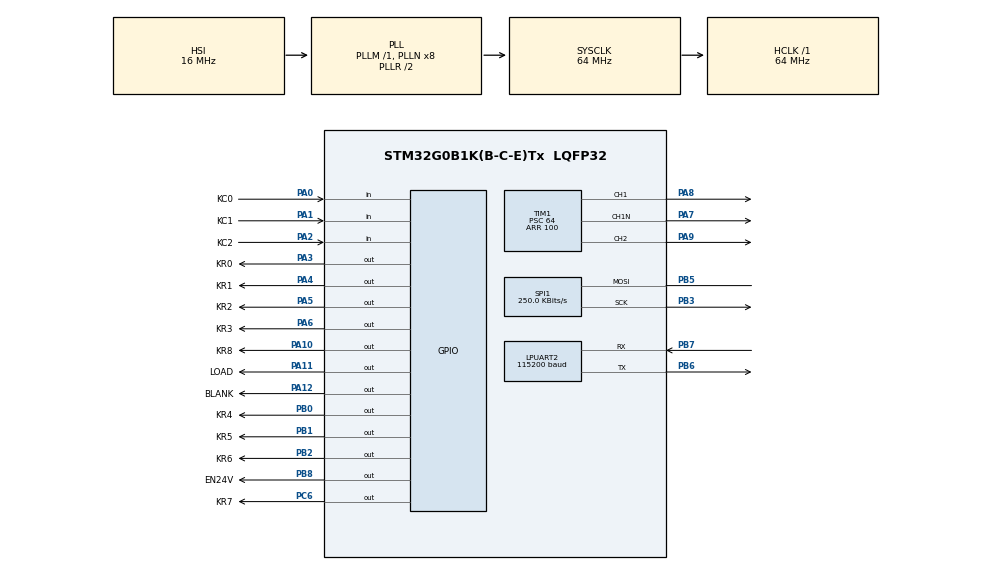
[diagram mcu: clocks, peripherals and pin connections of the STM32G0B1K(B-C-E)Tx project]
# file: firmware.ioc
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LPUART2.BaudRate=115200
LPUART2.WordLength=UART_WORDLENGTH_8B
Mcu.Family=STM32G0
Mcu.Name=STM32G0B1K(B-C-E)Tx
Mcu.Package=LQFP32
PA0.GPIO_Label=KC0
PA0.GPIO_PuPd=GPIO_PULLUP
PA0.Signal=GPIO_Input
PA1.GPIO_Label=KC1
PA1.GPIO_PuPd=GPIO_PULLUP
PA1.Signal=GPIO_Input
PA10.GPIO_Label=KR8
PA10.GPIO_ModeDefaultOutputPP=GPIO_MODE_OUTPUT_OD
PA10.GPIO_PuPd=GPIO_NOPULL
PA10.GPIO_Speed=GPIO_SPEED_FREQ_HIGH
PA10.PinState=GPIO_PIN_SET
PA10.Signal=GPIO_Output
PA11\ [PA9].GPIO_Label=LOAD
PA11\ [PA9].Signal=GPIO_Output
PA12\ [PA10].GPIO_Label=BLANK
PA12\ [PA10].Signal=GPIO_Output
PA13.Mode=Serial_Wire
PA13.Signal=SYS_SWDIO
PA14-BOOT0.Mode=Serial_Wire
PA14-BOOT0.Signal=SYS_SWCLK
PA2.GPIO_Label=KC2
PA2.GPIO_PuPd=GPIO_PULLUP
PA2.Signal=GPIO_Input
PA3.GPIO_Label=KR0
PA3.GPIO_ModeDefaultOutputPP=GPIO_MODE_OUTPUT_OD
PA3.GPIO_PuPd=GPIO_NOPULL
PA3.GPIO_Speed=GPIO_SPEED_FREQ_HIGH
PA3.PinState=GPIO_PIN_SET
PA3.Signal=GPIO_Output
PA4.GPIO_Label=KR1
PA4.GPIO_ModeDefaultOutputPP=GPIO_MODE_OUTPUT_OD
PA4.GPIO_PuPd=GPIO_NOPULL
PA4.GPIO_Speed=GPIO_SPEED_FREQ_HIGH
PA4.PinState=GPIO_PIN_SET
PA4.Signal=GPIO_Output
PA5.GPIO_Label=KR2
PA5.GPIO_ModeDefaultOutputPP=GPIO_MODE_OUTPUT_OD
PA5.GPIO_PuPd=GPIO_NOPULL
PA5.GPIO_Speed=GPIO_SPEED_FREQ_HIGH
PA5.PinState=GPIO_PIN_SET
PA5.Signal=GPIO_Output
PA6.GPIO_Label=KR3
PA6.GPIO_ModeDefaultOutputPP=GPIO_MODE_OUTPUT_OD
PA6.GPIO_PuPd=GPIO_NOPULL
PA6.GPIO_Speed=GPIO_SPEED_FREQ_HIGH
PA6.PinState=GPIO_PIN_SET
PA6.Signal=GPIO_Output
PA7.Mode=PWM Generation1 CH1 CH1N
PA7.Signal=TIM1_CH1N
PA8.Signal=S_TIM1_CH1
PA9.Signal=S_TIM1_CH2
PB0.GPIO_Label=KR4
PB0.GPIO_ModeDefaultOutputPP=GPIO_MODE_OUTPUT_OD
PB0.GPIO_PuPd=GPIO_NOPULL
PB0.GPIO_Speed=GPIO_SPEED_FREQ_HIGH
PB0.PinState=GPIO_PIN_SET
PB0.Signal=GPIO_Output
PB1.GPIO_Label=KR5
PB1.GPIO_ModeDefaultOutputPP=GPIO_MODE_OUTPUT_OD
PB1.GPIO_PuPd=GPIO_NOPULL
PB1.GPIO_Speed=GPIO_SPEED_FREQ_HIGH
PB1.PinState=GPIO_PIN_SET
PB1.Signal=GPIO_Output
PB2.GPIO_Label=KR6
PB2.GPIO_ModeDefaultOutputPP=GPIO_MODE_OUTPUT_OD
PB2.GPIO_PuPd=GPIO_NOPULL
PB2.GPIO_Speed=GPIO_SPEED_FREQ_HIGH
PB2.PinState=GPIO_PIN_SET
PB2.Signal=GPIO_Output
PB3.Mode=Simplex_Bidirectional_Master
PB3.Signal=SPI1_SCK
PB5.Mode=Simplex_Bidirectional_Master
PB5.Signal=SPI1_MOSI
PB6.Mode=Asynchronous
PB6.Signal=LPUART2_TX
PB7.Mode=Asynchronous
PB7.Signal=LPUART2_RX
PB8.GPIO_Label=EN24V
PB8.Signal=GPIO_Output
PC6.GPIO_Label=KR7
PC6.GPIO_ModeDefaultOutputPP=GPIO_MODE_OUTPUT_OD
PC6.GPIO_PuPd=GPIO_NOPULL
PC6.GPIO_Speed=GPIO_SPEED_FREQ_HIGH
PC6.PinState=GPIO_PIN_SET
PC6.Signal=GPIO_Output
ProjectManager.HeapSize=0x200
ProjectManager.StackSize=0x400
ProjectManager.TargetToolchain=STM32CubeIDE
RCC.ADCFreq_Value=64000000
RCC.AHBFreq_Value=64000000
RCC.APB1CLKDivider=RCC_HCLK_DIV2
RCC.CodegenConfigPeriph=true
RCC.CortexFreq_Value=64000000
RCC.EXTERNAL_CLOCK_VALUE=48000
RCC.HCLKFreq_Value=64000000
RCC.HSE_VALUE=8000000
RCC.HSI48_VALUE=48000000
RCC.HSI_VALUE=16000000
RCC.LSE_VALUE=32768
RCC.PREFETCH_ENABLE=1
RCC.SYSCLKFreq_VALUE=64000000
RCC.SYSCLKSource=RCC_SYSCLKSOURCE_PLLCLK
RCC.USBFreq_Value=48000000
RCC.VCOOutputFreq_Value=128000000
SH.S_TIM1_CH1.0=TIM1_CH1,PWM Generation1 CH1 CH1N
SH.S_TIM1_CH2.0=TIM1_CH2,PWM Generation2 CH2
SPI1.BaudRatePrescaler=SPI_BAUDRATEPRESCALER_128
SPI1.CalculateBaudRate=250.0 KBits/s
SPI1.Direction=SPI_DIRECTION_1LINE
SPI1.FirstBit=SPI_FIRSTBIT_LSB
SPI1.Mode=SPI_MODE_MASTER
SPI1.VirtualType=VM_MASTER
TIM1.AutoReloadPreload=TIM_AUTORELOAD_PRELOAD_ENABLE
TIM1.Channel-PWM\ Generation1\ CH1\ CH1N=TIM_CHANNEL_1
TIM1.Channel-PWM\ Generation2\ CH2=TIM_CHANNEL_2
TIM1.Period=100
TIM1.Prescaler=64
TIM1.Pulse-PWM\ Generation1\ CH1\ CH1N=50
TIM1.Pulse-PWM\ Generation2\ CH2=50
VP_SYS_VS_DBSignals.Mode=DisableDeadBatterySignals
board=custom

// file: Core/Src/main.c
/* USER CODE BEGIN Header */
/**
  ******************************************************************************
  * @file           : main.c
  * @brief          : Main program body
  ******************************************************************************
  * @attention
  *
  * <h2><center>&copy; Copyright (c) 2022 STMicroelectronics.
  * All rights reserved.</center></h2>
  *
  * This software component is licensed by ST under BSD 3-Clause license,
  * the "License"; You may not use this file except in compliance with the
  * License. You may obtain a copy of the License at:
  *                        opensource.org/licenses/BSD-3-Clause
  *
  ******************************************************************************
  */
/* USER CODE END Header */
#include "main.h"

/* USER CODE BEGIN Includes */
#include <stdio.h>
/* USER CODE END Includes */

/* USER CODE BEGIN PD */

// Make this macro true if you want to protect the SWD pin from static discharge.
// Make this macro false if you need to debug the program.
#define PROTECT_SWD true

/* USER CODE END PD */

UART_HandleTypeDef hlpuart2;

SPI_HandleTypeDef hspi1;

TIM_HandleTypeDef htim1;

void SystemClock_Config(void);
static void MX_GPIO_Init(void);
static void MX_SPI1_Init(void);
static void MX_LPUART2_UART_Init(void);
static void MX_TIM1_Init(void);
/* USER CODE BEGIN PFP */
extern void exec_calc();		// calculator execution body function.
/* USER CODE END PFP */

/* USER CODE BEGIN 0 */
// STDOUT hook. Enable printf.
int _write(int file, char *ptr, int len)
{
#if 1
	// To UART
  HAL_UART_Transmit(&hlpuart2,(uint8_t *)ptr,len,10);
  return len;
#else
  // To SWV Data console
    int DataIdx;
    for(DataIdx=0; DataIdx<len; DataIdx++)
    {
      ITM_SendChar(*ptr++);
    }
    return len;
#endif
}

// Call this function only when release build.
static void ProtectSWD(void)
{
	// In the release build, we set the SWD port as input, and pull up/down.
	// This will protect the SWD pins from the static discharge.
	// See STM32G0B1 reference manual for a detail.
#if ! PROTECT_SWD
  GPIO_InitTypeDef GPIO_InitStruct = {0};

  /*Configure GPIO pin : PA13 */
  GPIO_InitStruct.Pin = GPIO_PIN_13;
  GPIO_InitStruct.Mode = GPIO_MODE_INPUT;
  GPIO_InitStruct.Pull = GPIO_PULLUP;
  HAL_GPIO_Init(GPIOA, &GPIO_InitStruct);

  /*Configure GPIO pin : PA14 */
  GPIO_InitStruct.Pin = GPIO_PIN_14;
  GPIO_InitStruct.Mode = GPIO_MODE_INPUT;
  GPIO_InitStruct.Pull = GPIO_PULLDOWN;
  HAL_GPIO_Init(GPIOA, &GPIO_InitStruct);
#endif
}
/* USER CODE END 0 */

int main(void)
{

  /* MCU Configuration--------------------------------------------------------*/

  /* Reset of all peripherals, Initializes the Flash interface and the Systick. */
  HAL_Init();

  /* Configure the system clock */
  SystemClock_Config();

  /* Initialize all configured peripherals */
  MX_GPIO_Init();
  MX_SPI1_Init();
  MX_LPUART2_UART_Init();
  MX_TIM1_Init();

  /* Infinite loop */
  /* USER CODE BEGIN WHILE */
  ProtectSWD();			// Set SWD pins as GPIO ( release build only )
  setbuf(stdout, NULL);	// enable non-buffered output for STDIO.

  // Start TIM1 CH1 CH1N
  HAL_TIM_PWM_Start(&htim1,TIM_CHANNEL_1);
  HAL_TIMEx_PWMN_Start(&htim1, TIM_CHANNEL_1);

  // Start TIM2 CH1
  HAL_TIM_PWM_Start(&htim1,TIM_CHANNEL_2);

  // Enable 24volt DC-DC converter.
  HAL_GPIO_WritePin(EN24V_GPIO_Port, EN24V_Pin, GPIO_PIN_SET);
  exec_calc();			// Start calculator

  while (1)
  {
    /* USER CODE END WHILE */

  }
}

void SystemClock_Config(void)
{
  RCC_OscInitTypeDef RCC_OscInitStruct = {0};
  RCC_ClkInitTypeDef RCC_ClkInitStruct = {0};

  /** Configure the main internal regulator output voltage
  */
  HAL_PWREx_ControlVoltageScaling(PWR_REGULATOR_VOLTAGE_SCALE1);

  /** Initializes the RCC Oscillators according to the specified parameters
  * in the RCC_OscInitTypeDef structure.
  */
  RCC_OscInitStruct.OscillatorType = RCC_OSCILLATORTYPE_HSI;
  RCC_OscInitStruct.HSIState = RCC_HSI_ON;
  RCC_OscInitStruct.HSIDiv = RCC_HSI_DIV1;
  RCC_OscInitStruct.HSICalibrationValue = RCC_HSICALIBRATION_DEFAULT;
  RCC_OscInitStruct.PLL.PLLState = RCC_PLL_ON;
  RCC_OscInitStruct.PLL.PLLSource = RCC_PLLSOURCE_HSI;
  RCC_OscInitStruct.PLL.PLLM = RCC_PLLM_DIV1;
  RCC_OscInitStruct.PLL.PLLN = 8;
  RCC_OscInitStruct.PLL.PLLP = RCC_PLLP_DIV2;
  RCC_OscInitStruct.PLL.PLLQ = RCC_PLLQ_DIV2;
  RCC_OscInitStruct.PLL.PLLR = RCC_PLLR_DIV2;
  if (HAL_RCC_OscConfig(&RCC_OscInitStruct) != HAL_OK)
  {
    Error_Handler();
  }

  /** Initializes the CPU, AHB and APB buses clocks
  */
  RCC_ClkInitStruct.ClockType = RCC_CLOCKTYPE_HCLK|RCC_CLOCKTYPE_SYSCLK
                              |RCC_CLOCKTYPE_PCLK1;
  RCC_ClkInitStruct.SYSCLKSource = RCC_SYSCLKSOURCE_PLLCLK;
  RCC_ClkInitStruct.AHBCLKDivider = RCC_SYSCLK_DIV1;
  RCC_ClkInitStruct.APB1CLKDivider = RCC_HCLK_DIV2;

  if (HAL_RCC_ClockConfig(&RCC_ClkInitStruct, FLASH_LATENCY_2) != HAL_OK)
  {
    Error_Handler();
  }
}

static void MX_LPUART2_UART_Init(void)
{

  hlpuart2.Instance = LPUART2;
  hlpuart2.Init.BaudRate = 115200;
  hlpuart2.Init.WordLength = UART_WORDLENGTH_8B;
  hlpuart2.Init.StopBits = UART_STOPBITS_1;
  hlpuart2.Init.Parity = UART_PARITY_NONE;
  hlpuart2.Init.Mode = UART_MODE_TX_RX;
  hlpuart2.Init.HwFlowCtl = UART_HWCONTROL_NONE;
  hlpuart2.Init.OneBitSampling = UART_ONE_BIT_SAMPLE_DISABLE;
  hlpuart2.Init.ClockPrescaler = UART_PRESCALER_DIV1;
  hlpuart2.AdvancedInit.AdvFeatureInit = UART_ADVFEATURE_NO_INIT;
  hlpuart2.FifoMode = UART_FIFOMODE_DISABLE;
  if (HAL_UART_Init(&hlpuart2) != HAL_OK)
  {
    Error_Handler();
  }
  if (HAL_UARTEx_SetTxFifoThreshold(&hlpuart2, UART_TXFIFO_THRESHOLD_1_8) != HAL_OK)
  {
    Error_Handler();
  }
  if (HAL_UARTEx_SetRxFifoThreshold(&hlpuart2, UART_RXFIFO_THRESHOLD_1_8) != HAL_OK)
  {
    Error_Handler();
  }
  if (HAL_UARTEx_DisableFifoMode(&hlpuart2) != HAL_OK)
  {
    Error_Handler();
  }

}

static void MX_SPI1_Init(void)
{

  /* SPI1 parameter configuration*/
  hspi1.Instance = SPI1;
  hspi1.Init.Mode = SPI_MODE_MASTER;
  hspi1.Init.Direction = SPI_DIRECTION_1LINE;
  hspi1.Init.DataSize = SPI_DATASIZE_8BIT;
  hspi1.Init.CLKPolarity = SPI_POLARITY_LOW;
  hspi1.Init.CLKPhase = SPI_PHASE_1EDGE;
  hspi1.Init.NSS = SPI_NSS_SOFT;
  hspi1.Init.BaudRatePrescaler = SPI_BAUDRATEPRESCALER_128;
  hspi1.Init.FirstBit = SPI_FIRSTBIT_LSB;
  hspi1.Init.TIMode = SPI_TIMODE_DISABLE;
  hspi1.Init.CRCCalculation = SPI_CRCCALCULATION_DISABLE;
  hspi1.Init.CRCPolynomial = 7;
  hspi1.Init.CRCLength = SPI_CRC_LENGTH_DATASIZE;
  hspi1.Init.NSSPMode = SPI_NSS_PULSE_ENABLE;
  if (HAL_SPI_Init(&hspi1) != HAL_OK)
  {
    Error_Handler();
  }

}

static void MX_TIM1_Init(void)
{

  TIM_MasterConfigTypeDef sMasterConfig = {0};
  TIM_OC_InitTypeDef sConfigOC = {0};
  TIM_BreakDeadTimeConfigTypeDef sBreakDeadTimeConfig = {0};

  htim1.Instance = TIM1;
  htim1.Init.Prescaler = 64;
  htim1.Init.CounterMode = TIM_COUNTERMODE_UP;
  htim1.Init.Period = 100;
  htim1.Init.ClockDivision = TIM_CLOCKDIVISION_DIV1;
  htim1.Init.RepetitionCounter = 0;
  htim1.Init.AutoReloadPreload = TIM_AUTORELOAD_PRELOAD_ENABLE;
  if (HAL_TIM_PWM_Init(&htim1) != HAL_OK)
  {
    Error_Handler();
  }
  sMasterConfig.MasterOutputTrigger = TIM_TRGO_RESET;
  sMasterConfig.MasterOutputTrigger2 = TIM_TRGO2_RESET;
  sMasterConfig.MasterSlaveMode = TIM_MASTERSLAVEMODE_DISABLE;
  if (HAL_TIMEx_MasterConfigSynchronization(&htim1, &sMasterConfig) != HAL_OK)
  {
    Error_Handler();
  }
  sConfigOC.OCMode = TIM_OCMODE_PWM1;
  sConfigOC.Pulse = 50;
  sConfigOC.OCPolarity = TIM_OCPOLARITY_HIGH;
  sConfigOC.OCNPolarity = TIM_OCNPOLARITY_HIGH;
  sConfigOC.OCFastMode = TIM_OCFAST_DISABLE;
  sConfigOC.OCIdleState = TIM_OCIDLESTATE_RESET;
  sConfigOC.OCNIdleState = TIM_OCNIDLESTATE_RESET;
  if (HAL_TIM_PWM_ConfigChannel(&htim1, &sConfigOC, TIM_CHANNEL_1) != HAL_OK)
  {
    Error_Handler();
  }
  if (HAL_TIM_PWM_ConfigChannel(&htim1, &sConfigOC, TIM_CHANNEL_2) != HAL_OK)
  {
    Error_Handler();
  }
  sBreakDeadTimeConfig.OffStateRunMode = TIM_OSSR_DISABLE;
  sBreakDeadTimeConfig.OffStateIDLEMode = TIM_OSSI_DISABLE;
  sBreakDeadTimeConfig.LockLevel = TIM_LOCKLEVEL_OFF;
  sBreakDeadTimeConfig.DeadTime = 0;
  sBreakDeadTimeConfig.BreakState = TIM_BREAK_DISABLE;
  sBreakDeadTimeConfig.BreakPolarity = TIM_BREAKPOLARITY_HIGH;
  sBreakDeadTimeConfig.BreakFilter = 0;
  sBreakDeadTimeConfig.BreakAFMode = TIM_BREAK_AFMODE_INPUT;
  sBreakDeadTimeConfig.Break2State = TIM_BREAK2_DISABLE;
  sBreakDeadTimeConfig.Break2Polarity = TIM_BREAK2POLARITY_HIGH;
  sBreakDeadTimeConfig.Break2Filter = 0;
  sBreakDeadTimeConfig.Break2AFMode = TIM_BREAK_AFMODE_INPUT;
  sBreakDeadTimeConfig.AutomaticOutput = TIM_AUTOMATICOUTPUT_DISABLE;
  if (HAL_TIMEx_ConfigBreakDeadTime(&htim1, &sBreakDeadTimeConfig) != HAL_OK)
  {
    Error_Handler();
  }
  HAL_TIM_MspPostInit(&htim1);

}

static void MX_GPIO_Init(void)
{
  GPIO_InitTypeDef GPIO_InitStruct = {0};

  /* GPIO Ports Clock Enable */
  __HAL_RCC_GPIOB_CLK_ENABLE();
  __HAL_RCC_GPIOC_CLK_ENABLE();
  __HAL_RCC_GPIOF_CLK_ENABLE();
  __HAL_RCC_GPIOA_CLK_ENABLE();

  /*Configure GPIO pin Output Level */
  HAL_GPIO_WritePin(GPIOA, KR0_Pin|KR1_Pin|KR2_Pin|KR3_Pin
                          |KR8_Pin, GPIO_PIN_SET);

  /*Configure GPIO pin Output Level */
  HAL_GPIO_WritePin(GPIOB, KR4_Pin|KR5_Pin|KR6_Pin, GPIO_PIN_SET);

  /*Configure GPIO pin Output Level */
  HAL_GPIO_WritePin(KR7_GPIO_Port, KR7_Pin, GPIO_PIN_SET);

  /*Configure GPIO pin Output Level */
  HAL_GPIO_WritePin(GPIOA, LOAD_Pin|BLANK_Pin, GPIO_PIN_RESET);

  /*Configure GPIO pin Output Level */
  HAL_GPIO_WritePin(EN24V_GPIO_Port, EN24V_Pin, GPIO_PIN_RESET);

  /*Configure GPIO pins : PB9 PB4 */
  GPIO_InitStruct.Pin = GPIO_PIN_9|GPIO_PIN_4;
  GPIO_InitStruct.Mode = GPIO_MODE_ANALOG;
  GPIO_InitStruct.Pull = GPIO_NOPULL;
  HAL_GPIO_Init(GPIOB, &GPIO_InitStruct);

  /*Configure GPIO pins : PC14 PC15 */
  GPIO_InitStruct.Pin = GPIO_PIN_14|GPIO_PIN_15;
  GPIO_InitStruct.Mode = GPIO_MODE_ANALOG;
  GPIO_InitStruct.Pull = GPIO_NOPULL;
  HAL_GPIO_Init(GPIOC, &GPIO_InitStruct);

  /*Configure GPIO pin : PF2 */
  GPIO_InitStruct.Pin = GPIO_PIN_2;
  GPIO_InitStruct.Mode = GPIO_MODE_ANALOG;
  GPIO_InitStruct.Pull = GPIO_NOPULL;
  HAL_GPIO_Init(GPIOF, &GPIO_InitStruct);

  /*Configure GPIO pins : KC0_Pin KC1_Pin KC2_Pin */
  GPIO_InitStruct.Pin = KC0_Pin|KC1_Pin|KC2_Pin;
  GPIO_InitStruct.Mode = GPIO_MODE_INPUT;
  GPIO_InitStruct.Pull = GPIO_PULLUP;
  HAL_GPIO_Init(GPIOA, &GPIO_InitStruct);

  /*Configure GPIO pins : KR0_Pin KR1_Pin KR2_Pin KR3_Pin
                           KR8_Pin */
  GPIO_InitStruct.Pin = KR0_Pin|KR1_Pin|KR2_Pin|KR3_Pin
                          |KR8_Pin;
  GPIO_InitStruct.Mode = GPIO_MODE_OUTPUT_OD;
  GPIO_InitStruct.Pull = GPIO_NOPULL;
  GPIO_InitStruct.Speed = GPIO_SPEED_FREQ_HIGH;
  HAL_GPIO_Init(GPIOA, &GPIO_InitStruct);

  /*Configure GPIO pins : KR4_Pin KR5_Pin KR6_Pin */
  GPIO_InitStruct.Pin = KR4_Pin|KR5_Pin|KR6_Pin;
  GPIO_InitStruct.Mode = GPIO_MODE_OUTPUT_OD;
  GPIO_InitStruct.Pull = GPIO_NOPULL;
  GPIO_InitStruct.Speed = GPIO_SPEED_FREQ_HIGH;
  HAL_GPIO_Init(GPIOB, &GPIO_InitStruct);

  /*Configure GPIO pin : KR7_Pin */
  GPIO_InitStruct.Pin = KR7_Pin;
  GPIO_InitStruct.Mode = GPIO_MODE_OUTPUT_OD;
  GPIO_InitStruct.Pull = GPIO_NOPULL;
  GPIO_InitStruct.Speed = GPIO_SPEED_FREQ_HIGH;
  HAL_GPIO_Init(KR7_GPIO_Port, &GPIO_InitStruct);

  /*Configure GPIO pins : LOAD_Pin BLANK_Pin */
  GPIO_InitStruct.Pin = LOAD_Pin|BLANK_Pin;
  GPIO_InitStruct.Mode = GPIO_MODE_OUTPUT_PP;
  GPIO_InitStruct.Pull = GPIO_NOPULL;
  GPIO_InitStruct.Speed = GPIO_SPEED_FREQ_LOW;
  HAL_GPIO_Init(GPIOA, &GPIO_InitStruct);

  /*Configure GPIO pin : PA15 */
  GPIO_InitStruct.Pin = GPIO_PIN_15;
  GPIO_InitStruct.Mode = GPIO_MODE_ANALOG;
  GPIO_InitStruct.Pull = GPIO_NOPULL;
  HAL_GPIO_Init(GPIOA, &GPIO_InitStruct);

  /*Configure GPIO pin : EN24V_Pin */
  GPIO_InitStruct.Pin = EN24V_Pin;
  GPIO_InitStruct.Mode = GPIO_MODE_OUTPUT_PP;
  GPIO_InitStruct.Pull = GPIO_NOPULL;
  GPIO_InitStruct.Speed = GPIO_SPEED_FREQ_LOW;
  HAL_GPIO_Init(EN24V_GPIO_Port, &GPIO_InitStruct);

}

void Error_Handler(void)
{
  __disable_irq();
  while (1)
  {
  }
}
